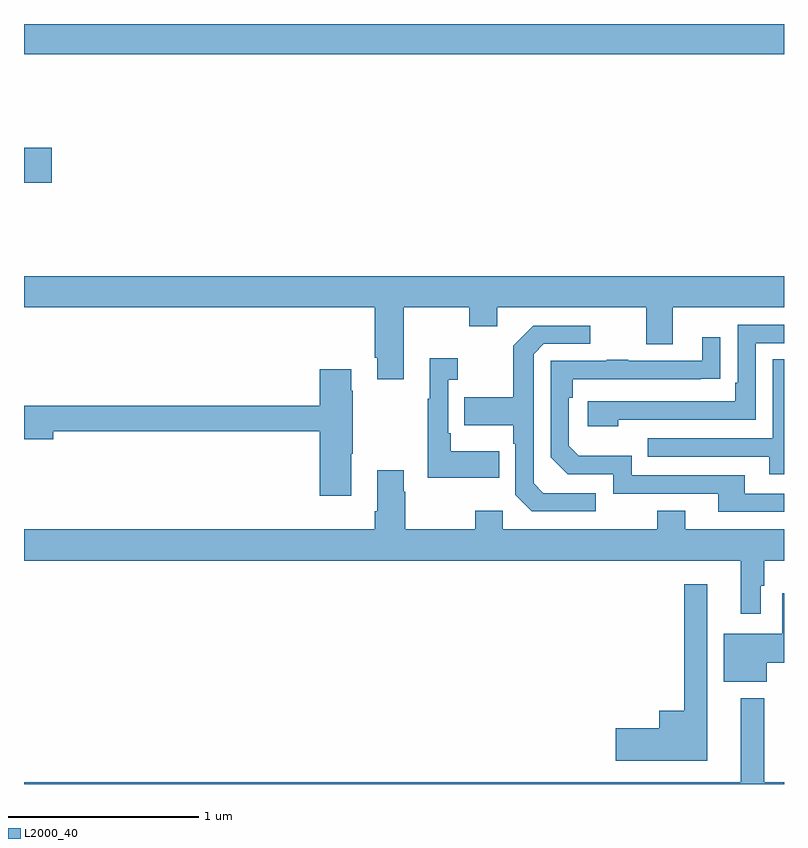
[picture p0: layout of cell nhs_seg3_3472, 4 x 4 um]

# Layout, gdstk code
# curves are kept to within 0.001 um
import gdstk
lib = gdstk.Library(unit=1e-6, precision=1e-09)
def R(c, l, rs):  # rectangles x0, y0, x1, y1
    for r in rs: c.add(gdstk.rectangle(r[:2], r[2:], *l))
def P(c, l, *ps):  # polygons
    for p in ps: c.add(gdstk.Polygon(p, *l))
L2000_40 = (2000, 40)

nhs_seg3_3472 = lib.new_cell('nhs_seg3_3472')
R(nhs_seg3_3472, L2000_40, [(291,709.565,291.145,709.748), (291,710.24,295,710.4)])
P(nhs_seg3_3472, L2000_40, [(292.999,708.908),(293.344,708.908),(293.344,708.809),(293.491,708.809),(293.491,708.908),(294.275,708.908),(294.275,708.714),(294.415,708.714),(294.415,708.908),(295,708.908),(295,709.072),(291,709.072),(291,708.908),(292.847,708.908),(292.847,708.643),(292.859,708.643),(292.859,708.531),(292.999,708.531)],
  [(294.128,708.318),(294.852,708.318),(294.852,708.72),(295,708.72),(295,708.816),(294.756,708.816),(294.756,708.511),(294.743,708.511),(294.743,708.414),(293.967,708.414),(293.967,708.284),(294.128,708.284)],
  [(294.01,707.931),(293.733,707.931),(293.682,707.982),(293.682,708.663),(293.736,708.717),(293.98,708.717),(293.98,708.813),(293.679,708.813),(293.574,708.707),(293.574,708.435),(293.317,708.435),(293.317,708.287),(293.574,708.287),(293.574,708.191),(293.586,708.191),(293.586,707.922),(293.673,707.835),(294.01,707.835)],
  [(295,707.928),(294.793,707.928),(294.793,708.024),(294.198,708.024),(294.198,708.127),(293.921,708.127),(293.868,708.18),(293.868,708.434),(293.888,708.434),(293.888,708.531),(294.665,708.532),(294.665,708.751),(294.569,708.751),(294.569,708.627),(294.179,708.627),(294.179,708.632),(294.067,708.632),(294.067,708.627),(293.772,708.627),(293.772,708.12),(293.862,708.03),(294.102,708.03),(294.102,707.928),(294.653,707.928),(294.653,707.832),(295,707.832)],
  [(293.501,708.151),(293.245,708.151),(293.245,708.247),(293.232,708.247),(293.232,708.527),(293.284,708.527),(293.284,708.64),(293.135,708.64),(293.135,708.427),(293.124,708.427),(293.124,708.011),(293.501,708.011)],
  [(295,708.635),(294.942,708.635),(294.942,708.219),(294.283,708.219),(294.283,708.123),(294.923,708.123),(294.923,708.029),(295,708.029)],
  [(292.723,708.139),(292.731,708.139),(292.731,708.47),(292.723,708.47),(292.723,708.583),(292.556,708.583),(292.556,708.392),(291,708.392),(291,708.214),(291.154,708.214),(291.154,708.256),(292.556,708.256),(292.556,707.916),(292.723,707.916)],
  [(294.877,707.444),(294.895,707.444),(294.895,707.576),(295,707.576),(295,707.74),(294.481,707.74),(294.481,707.839),(294.334,707.839),(294.334,707.74),(293.52,707.74),(293.52,707.839),(293.374,707.839),(293.374,707.74),(293.007,707.74),(293.007,707.939),(292.999,707.939),(292.999,708.052),(292.859,708.052),(292.859,707.836),(292.847,707.836),(292.847,707.74),(291,707.74),(291,707.576),(294.773,707.576),(294.773,707.295),(294.877,707.295)],
  [(294.595,707.452),(294.474,707.452),(294.474,706.786),(294.344,706.786),(294.344,706.694),(294.114,706.694),(294.114,706.523),(294.595,706.523)],
  [(294.91,707.039),(295,707.039),(295,707.404),(294.992,707.404),(294.992,707.191),(294.683,707.191),(294.683,706.937),(294.91,706.937)],
  [(295,706.408),(294.895,706.408),(294.895,706.852),(294.773,706.852),(294.773,706.408),(291,706.408),(291,706.4),(295,706.4)])

lib.write_gds('nhs_seg3_3472.gds')
